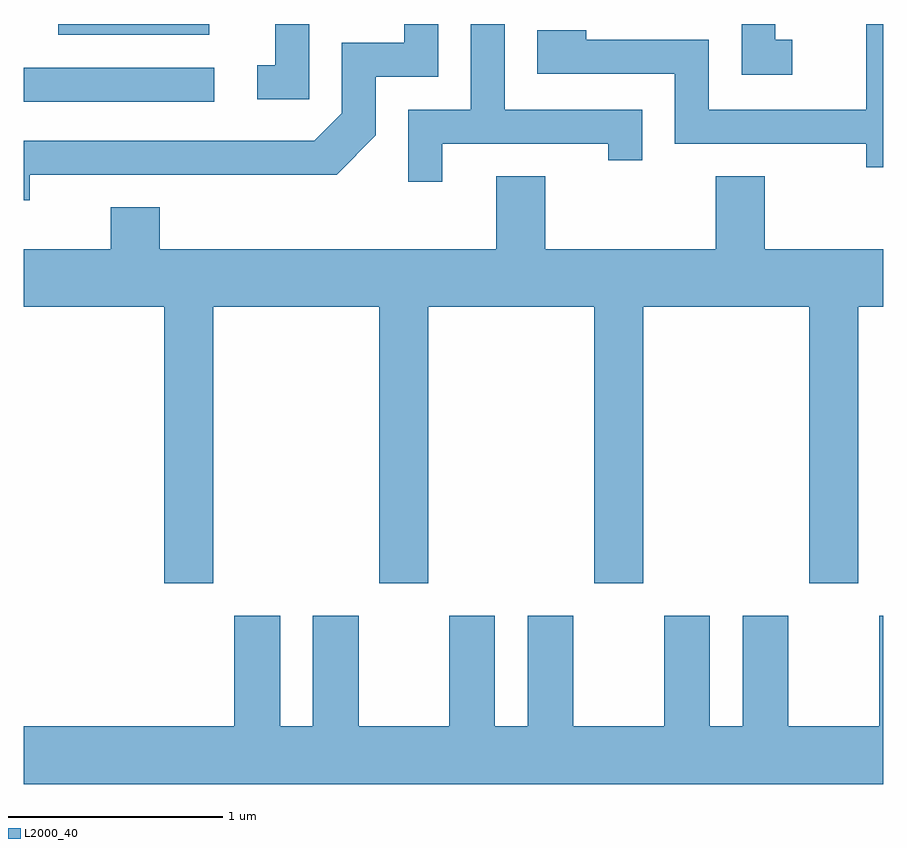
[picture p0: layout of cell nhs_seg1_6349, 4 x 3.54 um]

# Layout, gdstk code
import gdstk
lib = gdstk.Library(unit=1e-6, precision=1e-09)
def R(c, l, rs):  # rectangles x0, y0, x1, y1
    for r in rs: c.add(gdstk.rectangle(r[:2], r[2:], *l))
def P(c, l, *ps):  # polygons
    for p in ps: c.add(gdstk.Polygon(p, *l))
L2000_40 = (2000, 40)

nhs_seg1_6349 = lib.new_cell('nhs_seg1_6349')
R(nhs_seg1_6349, L2000_40, [(375.611,969.351,376.498,969.509), (375.773,969.661,376.474,969.712)])
P(nhs_seg1_6349, L2000_40, [(379.188,969.639),(379.109,969.639),(379.109,969.712),(378.951,969.712),(378.951,969.476),(379.188,969.476)],
  [(377.559,969.156),(378.331,969.156),(378.331,969.078),(378.489,969.078),(378.489,969.314),(377.849,969.314),(377.849,969.712),(377.691,969.712),(377.691,969.314),(377.401,969.314),(377.401,968.978),(377.559,968.978)],
  [(379.611,969.712),(379.531,969.712),(379.531,969.314),(378.799,969.314),(378.799,969.639),(378.229,969.639),(378.229,969.684),(378.001,969.684),(378.001,969.481),(378.641,969.481),(378.641,969.156),(379.531,969.156),(379.531,969.046),(379.611,969.046)],
  [(375.639,969.011),(377.067,969.011),(377.249,969.194),(377.249,969.466),(377.539,969.466),(377.539,969.712),(377.381,969.712),(377.381,969.624),(377.091,969.624),(377.091,969.297),(376.964,969.169),(375.611,969.169),(375.611,968.891),(375.639,968.891)],
  [(376.939,969.712),(376.781,969.712),(376.781,969.519),(376.698,969.519),(376.698,969.361),(376.939,969.361)],
  [(376.494,968.396),(377.266,968.396),(377.266,967.111),(377.494,967.111),(377.494,968.396),(378.266,968.396),(378.266,967.111),(378.494,967.111),(378.494,968.396),(379.266,968.396),(379.266,967.111),(379.494,967.111),(379.494,968.396),(379.611,968.396),(379.611,968.664),(379.059,968.664),(379.059,969.004),(378.831,969.004),(378.831,968.664),(378.039,968.664),(378.039,969.004),(377.811,969.004),(377.811,968.664),(376.244,968.664),(376.244,968.859),(376.016,968.859),(376.016,968.664),(375.611,968.664),(375.611,968.396),(376.266,968.396),(376.266,967.111),(376.494,967.111)],
  [(379.611,966.959),(379.591,966.959),(379.591,966.444),(379.169,966.444),(379.169,966.959),(378.956,966.959),(378.956,966.444),(378.804,966.444),(378.804,966.959),(378.591,966.959),(378.591,966.444),(378.169,966.444),(378.169,966.959),(377.956,966.959),(377.956,966.444),(377.804,966.444),(377.804,966.959),(377.591,966.959),(377.591,966.444),(377.169,966.444),(377.169,966.959),(376.956,966.959),(376.956,966.444),(376.804,966.444),(376.804,966.959),(376.591,966.959),(376.591,966.444),(375.611,966.444),(375.611,966.176),(379.611,966.176)])

lib.write_gds('nhs_seg1_6349.gds')
